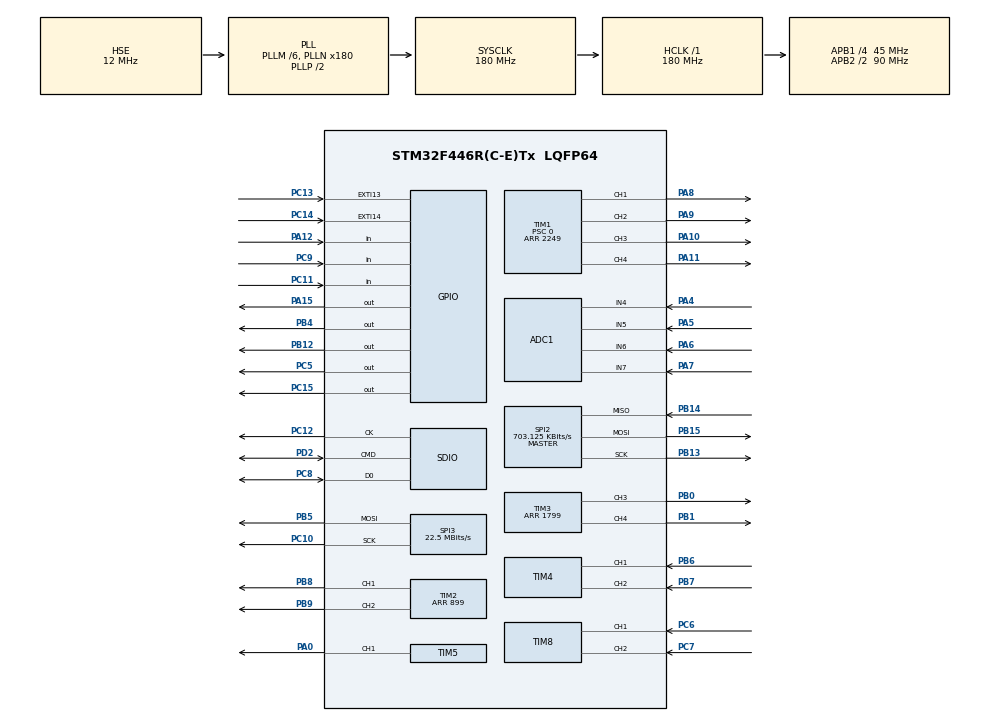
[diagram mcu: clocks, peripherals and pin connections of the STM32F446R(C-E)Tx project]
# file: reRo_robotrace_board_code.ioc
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ADC1.Channel-0\#ChannelRegularConversion=ADC_CHANNEL_6
ADC1.Channel-1\#ChannelRegularConversion=ADC_CHANNEL_7
ADC1.Channel-2\#ChannelRegularConversion=ADC_CHANNEL_5
ADC1.Channel-3\#ChannelRegularConversion=ADC_CHANNEL_4
ADC1.ContinuousConvMode=DISABLE
ADC1.DMAContinuousRequests=DISABLE
ADC1.ExternalTrigConv=ADC_SOFTWARE_START
ADC1.NbrOfConversion=4
ADC1.NbrOfConversionFlag=1
ADC1.Rank-0\#ChannelRegularConversion=1
ADC1.Rank-1\#ChannelRegularConversion=2
ADC1.Rank-2\#ChannelRegularConversion=3
ADC1.Rank-3\#ChannelRegularConversion=4
ADC1.SamplingTime-0\#ChannelRegularConversion=ADC_SAMPLETIME_15CYCLES
ADC1.SamplingTime-1\#ChannelRegularConversion=ADC_SAMPLETIME_15CYCLES
ADC1.SamplingTime-2\#ChannelRegularConversion=ADC_SAMPLETIME_15CYCLES
ADC1.SamplingTime-3\#ChannelRegularConversion=ADC_SAMPLETIME_15CYCLES
ADC1.ScanConvMode=ENABLE
ADC1.master=1
Dma.ADC1.2.Direction=DMA_PERIPH_TO_MEMORY
Dma.ADC1.2.FIFOMode=DMA_FIFOMODE_DISABLE
Dma.ADC1.2.Instance=DMA2_Stream0
Dma.ADC1.2.MemDataAlignment=DMA_MDATAALIGN_HALFWORD
Dma.ADC1.2.MemInc=DMA_MINC_ENABLE
Dma.ADC1.2.Mode=DMA_CIRCULAR
Dma.ADC1.2.PeriphDataAlignment=DMA_PDATAALIGN_HALFWORD
Dma.ADC1.2.PeriphInc=DMA_PINC_DISABLE
Dma.ADC1.2.Priority=DMA_PRIORITY_LOW
Dma.Request0=SDIO_RX
Dma.Request1=SDIO_TX
Dma.Request2=ADC1
Dma.SDIO_RX.0.Direction=DMA_PERIPH_TO_MEMORY
Dma.SDIO_RX.0.FIFOMode=DMA_FIFOMODE_ENABLE
Dma.SDIO_RX.0.FIFOThreshold=DMA_FIFO_THRESHOLD_FULL
Dma.SDIO_RX.0.Instance=DMA2_Stream3
Dma.SDIO_RX.0.MemBurst=DMA_MBURST_INC4
Dma.SDIO_RX.0.MemDataAlignment=DMA_MDATAALIGN_WORD
Dma.SDIO_RX.0.MemInc=DMA_MINC_ENABLE
Dma.SDIO_RX.0.Mode=DMA_PFCTRL
Dma.SDIO_RX.0.PeriphBurst=DMA_PBURST_INC4
Dma.SDIO_RX.0.PeriphDataAlignment=DMA_PDATAALIGN_WORD
Dma.SDIO_RX.0.PeriphInc=DMA_PINC_DISABLE
Dma.SDIO_RX.0.Priority=DMA_PRIORITY_MEDIUM
Dma.SDIO_TX.1.Direction=DMA_MEMORY_TO_PERIPH
Dma.SDIO_TX.1.FIFOMode=DMA_FIFOMODE_ENABLE
Dma.SDIO_TX.1.FIFOThreshold=DMA_FIFO_THRESHOLD_FULL
Dma.SDIO_TX.1.Instance=DMA2_Stream6
Dma.SDIO_TX.1.MemBurst=DMA_MBURST_INC4
Dma.SDIO_TX.1.MemDataAlignment=DMA_MDATAALIGN_WORD
Dma.SDIO_TX.1.MemInc=DMA_MINC_ENABLE
Dma.SDIO_TX.1.Mode=DMA_PFCTRL
Dma.SDIO_TX.1.PeriphBurst=DMA_PBURST_INC4
Dma.SDIO_TX.1.PeriphDataAlignment=DMA_PDATAALIGN_WORD
Dma.SDIO_TX.1.PeriphInc=DMA_PINC_DISABLE
Dma.SDIO_TX.1.Priority=DMA_PRIORITY_MEDIUM
FATFS.BSP.number=1
FATFS.USE_DMA_CODE_SD=1
FATFS._FS_RPATH=1
FATFS._MAX_SS=4096
FATFS._USE_CHMOD=1
FATFS._USE_LFN=1
FATFS0.BSP.STBoard=false
FATFS0.BSP.api=Unknown
FATFS0.BSP.instance=PC11
FATFS0.BSP.ip=GPIO
FATFS0.BSP.mode=Input
FATFS0.BSP.name=Detect_SDIO
FATFS0.BSP.solution=PC11
Mcu.Family=STM32F4
Mcu.Name=STM32F446R(C-E)Tx
Mcu.Package=LQFP64
NVIC.ADC_IRQn=true\:0\:0\:false\:false\:true\:true\:true\:true
NVIC.DMA2_Stream0_IRQn=true\:0\:0\:false\:false\:true\:false\:true\:true
NVIC.DMA2_Stream3_IRQn=true\:0\:0\:false\:false\:true\:false\:true\:true
NVIC.DMA2_Stream6_IRQn=true\:0\:0\:false\:false\:true\:false\:true\:true
NVIC.EXTI15_10_IRQn=true\:0\:0\:false\:false\:true\:true\:true\:true
NVIC.PriorityGroup=NVIC_PRIORITYGROUP_4
NVIC.SDIO_IRQn=true\:0\:0\:false\:false\:true\:true\:true\:true
NVIC.TIM1_UP_TIM10_IRQn=true\:0\:0\:false\:false\:true\:true\:true\:true
NVIC.TIM5_IRQn=true\:0\:0\:false\:false\:true\:true\:true\:true
NVIC.TIM6_DAC_IRQn=true\:0\:0\:true\:false\:true\:true\:true\:true
NVIC.TIM7_IRQn=true\:0\:0\:false\:false\:true\:true\:true\:true
PA0-WKUP.Signal=S_TIM5_CH1
PA10.Signal=S_TIM1_CH3
PA11.Signal=S_TIM1_CH4
PA12.GPIO_PuPd=GPIO_PULLUP
PA12.Signal=GPIO_Input
PA13.Mode=Trace_Asynchronous_SW
PA13.Signal=SYS_JTMS-SWDIO
PA14.Mode=Trace_Asynchronous_SW
PA14.Signal=SYS_JTCK-SWCLK
PA15.Signal=GPIO_Output
PA4.Signal=ADCx_IN4
PA5.Signal=ADCx_IN5
PA6.Signal=ADCx_IN6
PA7.Signal=ADCx_IN7
PA8.Signal=S_TIM1_CH1
PA9.Signal=S_TIM1_CH2
PB0.Signal=S_TIM3_CH3
PB1.Signal=S_TIM3_CH4
PB12.GPIO_Speed=GPIO_SPEED_FREQ_HIGH
PB12.Signal=GPIO_Output
PB13.Mode=Full_Duplex_Master
PB13.Signal=SPI2_SCK
PB14.Mode=Full_Duplex_Master
PB14.Signal=SPI2_MISO
PB15.Mode=Full_Duplex_Master
PB15.Signal=SPI2_MOSI
PB3.Mode=Trace_Asynchronous_SW
PB3.Signal=SYS_JTDO-SWO
PB4.Signal=GPIO_Output
PB5.Mode=TX_Only_Simplex_Unidirect_Master
PB5.Signal=SPI3_MOSI
PB6.Signal=S_TIM4_CH1
PB7.Signal=S_TIM4_CH2
PB8.GPIO_PuPd=GPIO_NOPULL
PB8.Signal=S_TIM2_CH1_ETR
PB9.GPIO_PuPd=GPIO_NOPULL
PB9.Signal=S_TIM2_CH2
PC10.Mode=TX_Only_Simplex_Unidirect_Master
PC10.Signal=SPI3_SCK
PC11.Signal=GPIO_Input
PC12.Mode=SD_1_bit
PC12.Signal=SDIO_CK
PC13.GPIO_ModeDefaultEXTI=GPIO_MODE_IT_RISING_FALLING
PC13.Signal=GPXTI13
PC14-OSC32_IN.GPIO_ModeDefaultEXTI=GPIO_MODE_IT_RISING_FALLING
PC14-OSC32_IN.Signal=GPXTI14
PC15-OSC32_OUT.Signal=GPIO_Output
PC5.GPIO_PuPd=GPIO_NOPULL
PC5.Signal=GPIO_Output
PC6.GPIO_PuPd=GPIO_NOPULL
PC6.Signal=S_TIM8_CH1
PC7.GPIO_PuPd=GPIO_NOPULL
PC7.Signal=S_TIM8_CH2
PC8.Mode=SD_1_bit
PC8.Signal=SDIO_D0
PC9.GPIO_PuPd=GPIO_PULLUP
PC9.Signal=GPIO_Input
PD2.Mode=SD_1_bit
PD2.Signal=SDIO_CMD
PH0-OSC_IN.Mode=HSE-External-Oscillator
PH0-OSC_IN.Signal=RCC_OSC_IN
PH1-OSC_OUT.Mode=HSE-External-Oscillator
PH1-OSC_OUT.Signal=RCC_OSC_OUT
ProjectManager.HeapSize=0x200
ProjectManager.StackSize=0x400
ProjectManager.TargetToolchain=STM32CubeIDE
RCC.AHBFreq_Value=180000000
RCC.APB1CLKDivider=RCC_HCLK_DIV4
RCC.APB1Freq_Value=45000000
RCC.APB1TimFreq_Value=90000000
RCC.APB2CLKDivider=RCC_HCLK_DIV2
RCC.APB2Freq_Value=90000000
RCC.APB2TimFreq_Value=180000000
RCC.CortexFreq_Value=180000000
RCC.HCLKFreq_Value=180000000
RCC.HSE_VALUE=12000000
RCC.PLLM=6
RCC.PLLN=180
RCC.PLLQ=8
RCC.PLLSourceVirtual=RCC_PLLSOURCE_HSE
RCC.SYSCLKFreq_VALUE=180000000
RCC.SYSCLKSource=RCC_SYSCLKSOURCE_PLLCLK
RCC.USBFreq_Value=45000000
RCC.VCOOutputFreq_Value=360000000
SH.ADCx_IN4.0=ADC1_IN4,IN4
SH.ADCx_IN5.0=ADC1_IN5,IN5
SH.ADCx_IN6.0=ADC1_IN6,IN6
SH.ADCx_IN7.0=ADC1_IN7,IN7
SH.S_TIM1_CH1.0=TIM1_CH1,PWM Generation1 CH1
SH.S_TIM1_CH2.0=TIM1_CH2,PWM Generation2 CH2
SH.S_TIM1_CH3.0=TIM1_CH3,PWM Generation3 CH3
SH.S_TIM1_CH4.0=TIM1_CH4,PWM Generation4 CH4
SH.S_TIM2_CH1_ETR.0=TIM2_CH1,PWM Generation1 CH1
SH.S_TIM2_CH2.0=TIM2_CH2,PWM Generation2 CH2
SH.S_TIM3_CH3.0=TIM3_CH3,PWM Generation3 CH3
SH.S_TIM3_CH4.0=TIM3_CH4,PWM Generation4 CH4
SH.S_TIM4_CH1.0=TIM4_CH1,Encoder_Interface
SH.S_TIM4_CH2.0=TIM4_CH2,Encoder_Interface
SH.S_TIM5_CH1.0=TIM5_CH1,PWM Generation1 CH1
SH.S_TIM8_CH1.0=TIM8_CH1,Encoder_Interface
SH.S_TIM8_CH2.0=TIM8_CH2,Encoder_Interface
SPI2.BaudRatePrescaler=SPI_BAUDRATEPRESCALER_64
SPI2.CLKPhase=SPI_PHASE_1EDGE
SPI2.CLKPolarity=SPI_POLARITY_LOW
SPI2.CalculateBaudRate=703.125 KBits/s
SPI2.Direction=SPI_DIRECTION_2LINES
SPI2.Mode=SPI_MODE_MASTER
SPI2.VirtualType=VM_MASTER
SPI3.CalculateBaudRate=22.5 MBits/s
SPI3.Direction=SPI_DIRECTION_2LINES
SPI3.Mode=SPI_MODE_MASTER
SPI3.VirtualType=VM_MASTER
TIM1.Channel-PWM\ Generation1\ CH1=TIM_CHANNEL_1
TIM1.Channel-PWM\ Generation2\ CH2=TIM_CHANNEL_2
TIM1.Channel-PWM\ Generation3\ CH3=TIM_CHANNEL_3
TIM1.Channel-PWM\ Generation4\ CH4=TIM_CHANNEL_4
TIM1.ClockDivision=TIM_CLOCKDIVISION_DIV1
TIM1.Period=2249
TIM1.Prescaler=0
TIM10.Period=9999
TIM10.Prescaler=179
TIM2.Channel-PWM\ Generation1\ CH1=TIM_CHANNEL_1
TIM2.Channel-PWM\ Generation2\ CH2=TIM_CHANNEL_2
TIM2.Period=899
TIM3.Channel-PWM\ Generation3\ CH3=TIM_CHANNEL_3
TIM3.Channel-PWM\ Generation4\ CH4=TIM_CHANNEL_4
TIM3.Period=1799
TIM4.EncoderMode=TIM_ENCODERMODE_TI12
TIM5.Channel-PWM\ Generation1\ CH1=TIM_CHANNEL_1
TIM5.Period=8999
TIM5.TIM_MasterOutputTrigger=TIM_TRGO_RESET
TIM6.Period=999
TIM6.Prescaler=89
TIM7.Period=99
TIM7.Prescaler=89
TIM8.EncoderMode=TIM_ENCODERMODE_TI12
VP_FATFS_VS_SDIO.Mode=SDIO
VP_TIM10_VS_ClockSourceINT.Mode=Enable_Timer
VP_TIM6_VS_ClockSourceINT.Mode=Enable_Timer
VP_TIM7_VS_ClockSourceINT.Mode=Enable_Timer
board=custom

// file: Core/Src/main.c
/* USER CODE BEGIN Header */
/**
 ******************************************************************************
 * @file           : main.c
 * @brief          : Main program body
 ******************************************************************************
 * @attention
 *
 * Copyright (c) 2023 STMicroelectronics.
 * All rights reserved.
 *
 * This software is licensed under terms that can be found in the LICENSE file
 * in the root directory of this software component.
 * If no LICENSE file comes with this software, it is provided AS-IS.
 *
 ******************************************************************************
 */
/* USER CODE END Header */
#include "main.h"
#include "fatfs.h"

/* USER CODE BEGIN Includes */
//#include "AQM0802.h"
#include "stdio.h"
//#include "MPU6500.h"
#include "cppMain.hpp"

/* USER CODE END Includes */

ADC_HandleTypeDef hadc1;
DMA_HandleTypeDef hdma_adc1;

SD_HandleTypeDef hsd;
DMA_HandleTypeDef hdma_sdio_rx;
DMA_HandleTypeDef hdma_sdio_tx;

SPI_HandleTypeDef hspi2;
SPI_HandleTypeDef hspi3;

TIM_HandleTypeDef htim1;
TIM_HandleTypeDef htim2;
TIM_HandleTypeDef htim3;
TIM_HandleTypeDef htim4;
TIM_HandleTypeDef htim5;
TIM_HandleTypeDef htim6;
TIM_HandleTypeDef htim7;
TIM_HandleTypeDef htim8;
TIM_HandleTypeDef htim10;

/* USER CODE BEGIN PV */
uint16_t tim6_timer;
uint16_t tim7_timer;
uint16_t tim10_timer;

/* USER CODE END PV */

void SystemClock_Config(void);
static void MX_GPIO_Init(void);
static void MX_DMA_Init(void);
static void MX_ADC1_Init(void);
static void MX_SDIO_SD_Init(void);
static void MX_SPI2_Init(void);
static void MX_TIM1_Init(void);
static void MX_TIM8_Init(void);
static void MX_TIM6_Init(void);
static void MX_TIM2_Init(void);
static void MX_TIM7_Init(void);
static void MX_SPI3_Init(void);
static void MX_TIM4_Init(void);
static void MX_TIM10_Init(void);
static void MX_TIM3_Init(void);
static void MX_TIM5_Init(void);
/* USER CODE BEGIN PFP */

uint16_t analog_val_[4];

/* USER CODE END PFP */

/* USER CODE BEGIN 0 */
int _write(int file, char *ptr, int len)
{
	int DataIdx;
	for(DataIdx=0; DataIdx<len; DataIdx++)
	{
		ITM_SendChar(*ptr++);
	}
	return len;
}

void HAL_GPIO_EXTI_Callback(uint16_t GPIO_Pin)
{
	cppExit(GPIO_Pin);
}

void HAL_TIM_PeriodElapsedCallback(TIM_HandleTypeDef *htim)
{
	if(htim->Instance == TIM7){		//0.1ms
		cppFlip100ns();

		tim7_timer++;
		if(tim7_timer >= 100000) tim7_timer = 0;
	}

	if (htim->Instance == TIM6){	//1msec
		cppFlip1ms();

		tim6_timer++;
		if(tim6_timer >= 100000) tim6_timer = 0;
	}

	if (htim->Instance == TIM10){	//10msec
		cppFlip10ms();

		tim10_timer++;
		if(tim10_timer >= 100000) tim10_timer = 0;
	}

	if (htim->Instance == TIM5) {
		//HAL_ADC_Start(&hadc1); // ADC変換を開??????��?��??��?��???��?��??��?��????��?��??��?��???��?��??��?��?????��?��??��?��???��?��??��?��????��?��??��?��???��?��??��?��? } }
		//HAL_ADC_Start_DMA(&hadc1, (uint32_t *) analog_val_, 12);
	}

}

void HAL_TIM_PWM_PulseFinishedCallback(TIM_HandleTypeDef *htim)
{
	if (htim->Instance == TIM5) {
		//HAL_ADC_Start(&hadc1); // ADC変換を開??????��?��??��?��???��?��??��?��????��?��??��?��???��?��??��?��?????��?��??��?��???��?��??��?��????��?��??��?��???��?��??��?��? } }
		//HAL_ADC_Start_DMA(&hadc1, (uint32_t *) analog_val_, 4);
		cppTimPwmPulseFinished();
	}

}
void HAL_TIM_OC_DelayElapsedCallback(TIM_HandleTypeDef *htim) {
	if (htim->Instance == TIM5) {
		// 比�?マッチ時の割り込みを�????��?��??��?��???��?��??��?��?
		//HAL_ADC_Start_DMA(&hadc1, (uint32_t *) analog_val_, 12);
	}
}

/* USER CODE END 0 */

int main(void)
{

  /* MCU Configuration--------------------------------------------------------*/

  /* Reset of all peripherals, Initializes the Flash interface and the Systick. */
  HAL_Init();

  /* Configure the system clock */
  SystemClock_Config();

  /* Initialize all configured peripherals */
  MX_GPIO_Init();
  MX_DMA_Init();
  MX_ADC1_Init();
  MX_SDIO_SD_Init();
  MX_SPI2_Init();
  MX_TIM1_Init();
  MX_TIM8_Init();
  MX_TIM6_Init();
  MX_FATFS_Init();
  MX_TIM2_Init();
  MX_TIM7_Init();
  MX_SPI3_Init();
  MX_TIM4_Init();
  MX_TIM10_Init();
  MX_TIM3_Init();
  MX_TIM5_Init();
  /* USER CODE BEGIN 2 */
	cppInit();

	/*
	HAL_TIM_PWM_Start_IT(&htim5, TIM_CHANNEL_1);
	HAL_TIM_PWM_Start(&htim5, TIM_CHANNEL_1);
	__HAL_TIM_SET_COMPARE(&htim5, TIM_CHANNEL_1, 8999);
	*/

	//printf("HelloWorld!!\r\n");

  /* USER CODE END 2 */

  /* Infinite loop */
  /* USER CODE BEGIN WHILE */
	while (1)
	{
		cppLoop();

    /* USER CODE END WHILE */

	}
}

void SystemClock_Config(void)
{
  RCC_OscInitTypeDef RCC_OscInitStruct = {0};
  RCC_ClkInitTypeDef RCC_ClkInitStruct = {0};

  /** Configure the main internal regulator output voltage
  */
  __HAL_RCC_PWR_CLK_ENABLE();
  __HAL_PWR_VOLTAGESCALING_CONFIG(PWR_REGULATOR_VOLTAGE_SCALE1);

  /** Initializes the RCC Oscillators according to the specified parameters
  * in the RCC_OscInitTypeDef structure.
  */
  RCC_OscInitStruct.OscillatorType = RCC_OSCILLATORTYPE_HSE;
  RCC_OscInitStruct.HSEState = RCC_HSE_ON;
  RCC_OscInitStruct.PLL.PLLState = RCC_PLL_ON;
  RCC_OscInitStruct.PLL.PLLSource = RCC_PLLSOURCE_HSE;
  RCC_OscInitStruct.PLL.PLLM = 6;
  RCC_OscInitStruct.PLL.PLLN = 180;
  RCC_OscInitStruct.PLL.PLLP = RCC_PLLP_DIV2;
  RCC_OscInitStruct.PLL.PLLQ = 8;
  RCC_OscInitStruct.PLL.PLLR = 2;
  if (HAL_RCC_OscConfig(&RCC_OscInitStruct) != HAL_OK)
  {
    Error_Handler();
  }

  /** Activate the Over-Drive mode
  */
  if (HAL_PWREx_EnableOverDrive() != HAL_OK)
  {
    Error_Handler();
  }

  /** Initializes the CPU, AHB and APB buses clocks
  */
  RCC_ClkInitStruct.ClockType = RCC_CLOCKTYPE_HCLK|RCC_CLOCKTYPE_SYSCLK
                              |RCC_CLOCKTYPE_PCLK1|RCC_CLOCKTYPE_PCLK2;
  RCC_ClkInitStruct.SYSCLKSource = RCC_SYSCLKSOURCE_PLLCLK;
  RCC_ClkInitStruct.AHBCLKDivider = RCC_SYSCLK_DIV1;
  RCC_ClkInitStruct.APB1CLKDivider = RCC_HCLK_DIV4;
  RCC_ClkInitStruct.APB2CLKDivider = RCC_HCLK_DIV2;

  if (HAL_RCC_ClockConfig(&RCC_ClkInitStruct, FLASH_LATENCY_5) != HAL_OK)
  {
    Error_Handler();
  }
}

static void MX_ADC1_Init(void)
{

  ADC_ChannelConfTypeDef sConfig = {0};

  /** Configure the global features of the ADC (Clock, Resolution, Data Alignment and number of conversion)
  */
  hadc1.Instance = ADC1;
  hadc1.Init.ClockPrescaler = ADC_CLOCK_SYNC_PCLK_DIV4;
  hadc1.Init.Resolution = ADC_RESOLUTION_12B;
  hadc1.Init.ScanConvMode = ENABLE;
  hadc1.Init.ContinuousConvMode = DISABLE;
  hadc1.Init.DiscontinuousConvMode = DISABLE;
  hadc1.Init.ExternalTrigConvEdge = ADC_EXTERNALTRIGCONVEDGE_NONE;
  hadc1.Init.ExternalTrigConv = ADC_SOFTWARE_START;
  hadc1.Init.DataAlign = ADC_DATAALIGN_RIGHT;
  hadc1.Init.NbrOfConversion = 4;
  hadc1.Init.DMAContinuousRequests = DISABLE;
  hadc1.Init.EOCSelection = ADC_EOC_SINGLE_CONV;
  if (HAL_ADC_Init(&hadc1) != HAL_OK)
  {
    Error_Handler();
  }

  /** Configure for the selected ADC regular channel its corresponding rank in the sequencer and its sample time.
  */
  sConfig.Channel = ADC_CHANNEL_6;
  sConfig.Rank = 1;
  sConfig.SamplingTime = ADC_SAMPLETIME_15CYCLES;
  if (HAL_ADC_ConfigChannel(&hadc1, &sConfig) != HAL_OK)
  {
    Error_Handler();
  }

  /** Configure for the selected ADC regular channel its corresponding rank in the sequencer and its sample time.
  */
  sConfig.Channel = ADC_CHANNEL_7;
  sConfig.Rank = 2;
  if (HAL_ADC_ConfigChannel(&hadc1, &sConfig) != HAL_OK)
  {
    Error_Handler();
  }

  /** Configure for the selected ADC regular channel its corresponding rank in the sequencer and its sample time.
  */
  sConfig.Channel = ADC_CHANNEL_5;
  sConfig.Rank = 3;
  if (HAL_ADC_ConfigChannel(&hadc1, &sConfig) != HAL_OK)
  {
    Error_Handler();
  }

  /** Configure for the selected ADC regular channel its corresponding rank in the sequencer and its sample time.
  */
  sConfig.Channel = ADC_CHANNEL_4;
  sConfig.Rank = 4;
  if (HAL_ADC_ConfigChannel(&hadc1, &sConfig) != HAL_OK)
  {
    Error_Handler();
  }

}

static void MX_SDIO_SD_Init(void)
{

  hsd.Instance = SDIO;
  hsd.Init.ClockEdge = SDIO_CLOCK_EDGE_RISING;
  hsd.Init.ClockBypass = SDIO_CLOCK_BYPASS_DISABLE;
  hsd.Init.ClockPowerSave = SDIO_CLOCK_POWER_SAVE_DISABLE;
  hsd.Init.BusWide = SDIO_BUS_WIDE_1B;
  hsd.Init.HardwareFlowControl = SDIO_HARDWARE_FLOW_CONTROL_DISABLE;
  hsd.Init.ClockDiv = 0;

}

static void MX_SPI2_Init(void)
{

  /* SPI2 parameter configuration*/
  hspi2.Instance = SPI2;
  hspi2.Init.Mode = SPI_MODE_MASTER;
  hspi2.Init.Direction = SPI_DIRECTION_2LINES;
  hspi2.Init.DataSize = SPI_DATASIZE_8BIT;
  hspi2.Init.CLKPolarity = SPI_POLARITY_LOW;
  hspi2.Init.CLKPhase = SPI_PHASE_1EDGE;
  hspi2.Init.NSS = SPI_NSS_SOFT;
  hspi2.Init.BaudRatePrescaler = SPI_BAUDRATEPRESCALER_64;
  hspi2.Init.FirstBit = SPI_FIRSTBIT_MSB;
  hspi2.Init.TIMode = SPI_TIMODE_DISABLE;
  hspi2.Init.CRCCalculation = SPI_CRCCALCULATION_DISABLE;
  hspi2.Init.CRCPolynomial = 10;
  if (HAL_SPI_Init(&hspi2) != HAL_OK)
  {
    Error_Handler();
  }

}

static void MX_SPI3_Init(void)
{

  /* SPI3 parameter configuration*/
  hspi3.Instance = SPI3;
  hspi3.Init.Mode = SPI_MODE_MASTER;
  hspi3.Init.Direction = SPI_DIRECTION_2LINES;
  hspi3.Init.DataSize = SPI_DATASIZE_8BIT;
  hspi3.Init.CLKPolarity = SPI_POLARITY_LOW;
  hspi3.Init.CLKPhase = SPI_PHASE_1EDGE;
  hspi3.Init.NSS = SPI_NSS_SOFT;
  hspi3.Init.BaudRatePrescaler = SPI_BAUDRATEPRESCALER_2;
  hspi3.Init.FirstBit = SPI_FIRSTBIT_MSB;
  hspi3.Init.TIMode = SPI_TIMODE_DISABLE;
  hspi3.Init.CRCCalculation = SPI_CRCCALCULATION_DISABLE;
  hspi3.Init.CRCPolynomial = 10;
  if (HAL_SPI_Init(&hspi3) != HAL_OK)
  {
    Error_Handler();
  }

}

static void MX_TIM1_Init(void)
{

  TIM_MasterConfigTypeDef sMasterConfig = {0};
  TIM_OC_InitTypeDef sConfigOC = {0};
  TIM_BreakDeadTimeConfigTypeDef sBreakDeadTimeConfig = {0};

  htim1.Instance = TIM1;
  htim1.Init.Prescaler = 0;
  htim1.Init.CounterMode = TIM_COUNTERMODE_UP;
  htim1.Init.Period = 2249;
  htim1.Init.ClockDivision = TIM_CLOCKDIVISION_DIV1;
  htim1.Init.RepetitionCounter = 0;
  htim1.Init.AutoReloadPreload = TIM_AUTORELOAD_PRELOAD_DISABLE;
  if (HAL_TIM_PWM_Init(&htim1) != HAL_OK)
  {
    Error_Handler();
  }
  sMasterConfig.MasterOutputTrigger = TIM_TRGO_RESET;
  sMasterConfig.MasterSlaveMode = TIM_MASTERSLAVEMODE_DISABLE;
  if (HAL_TIMEx_MasterConfigSynchronization(&htim1, &sMasterConfig) != HAL_OK)
  {
    Error_Handler();
  }
  sConfigOC.OCMode = TIM_OCMODE_PWM1;
  sConfigOC.Pulse = 0;
  sConfigOC.OCPolarity = TIM_OCPOLARITY_HIGH;
  sConfigOC.OCNPolarity = TIM_OCNPOLARITY_HIGH;
  sConfigOC.OCFastMode = TIM_OCFAST_DISABLE;
  sConfigOC.OCIdleState = TIM_OCIDLESTATE_RESET;
  sConfigOC.OCNIdleState = TIM_OCNIDLESTATE_RESET;
  if (HAL_TIM_PWM_ConfigChannel(&htim1, &sConfigOC, TIM_CHANNEL_1) != HAL_OK)
  {
    Error_Handler();
  }
  if (HAL_TIM_PWM_ConfigChannel(&htim1, &sConfigOC, TIM_CHANNEL_2) != HAL_OK)
  {
    Error_Handler();
  }
  if (HAL_TIM_PWM_ConfigChannel(&htim1, &sConfigOC, TIM_CHANNEL_3) != HAL_OK)
  {
    Error_Handler();
  }
  if (HAL_TIM_PWM_ConfigChannel(&htim1, &sConfigOC, TIM_CHANNEL_4) != HAL_OK)
  {
    Error_Handler();
  }
  sBreakDeadTimeConfig.OffStateRunMode = TIM_OSSR_DISABLE;
  sBreakDeadTimeConfig.OffStateIDLEMode = TIM_OSSI_DISABLE;
  sBreakDeadTimeConfig.LockLevel = TIM_LOCKLEVEL_OFF;
  sBreakDeadTimeConfig.DeadTime = 0;
  sBreakDeadTimeConfig.BreakState = TIM_BREAK_DISABLE;
  sBreakDeadTimeConfig.BreakPolarity = TIM_BREAKPOLARITY_HIGH;
  sBreakDeadTimeConfig.AutomaticOutput = TIM_AUTOMATICOUTPUT_DISABLE;
  if (HAL_TIMEx_ConfigBreakDeadTime(&htim1, &sBreakDeadTimeConfig) != HAL_OK)
  {
    Error_Handler();
  }
  HAL_TIM_MspPostInit(&htim1);

}

static void MX_TIM2_Init(void)
{

  TIM_MasterConfigTypeDef sMasterConfig = {0};
  TIM_OC_InitTypeDef sConfigOC = {0};

  htim2.Instance = TIM2;
  htim2.Init.Prescaler = 0;
  htim2.Init.CounterMode = TIM_COUNTERMODE_UP;
  htim2.Init.Period = 899;
  htim2.Init.ClockDivision = TIM_CLOCKDIVISION_DIV1;
  htim2.Init.AutoReloadPreload = TIM_AUTORELOAD_PRELOAD_DISABLE;
  if (HAL_TIM_PWM_Init(&htim2) != HAL_OK)
  {
    Error_Handler();
  }
  sMasterConfig.MasterOutputTrigger = TIM_TRGO_RESET;
  sMasterConfig.MasterSlaveMode = TIM_MASTERSLAVEMODE_DISABLE;
  if (HAL_TIMEx_MasterConfigSynchronization(&htim2, &sMasterConfig) != HAL_OK)
  {
    Error_Handler();
  }
  sConfigOC.OCMode = TIM_OCMODE_PWM1;
  sConfigOC.Pulse = 0;
  sConfigOC.OCPolarity = TIM_OCPOLARITY_HIGH;
  sConfigOC.OCFastMode = TIM_OCFAST_DISABLE;
  if (HAL_TIM_PWM_ConfigChannel(&htim2, &sConfigOC, TIM_CHANNEL_1) != HAL_OK)
  {
    Error_Handler();
  }
  if (HAL_TIM_PWM_ConfigChannel(&htim2, &sConfigOC, TIM_CHANNEL_2) != HAL_OK)
  {
    Error_Handler();
  }
  HAL_TIM_MspPostInit(&htim2);

}

static void MX_TIM3_Init(void)
{

  TIM_MasterConfigTypeDef sMasterConfig = {0};
  TIM_OC_InitTypeDef sConfigOC = {0};

  htim3.Instance = TIM3;
  htim3.Init.Prescaler = 0;
  htim3.Init.CounterMode = TIM_COUNTERMODE_UP;
  htim3.Init.Period = 1799;
  htim3.Init.ClockDivision = TIM_CLOCKDIVISION_DIV1;
  htim3.Init.AutoReloadPreload = TIM_AUTORELOAD_PRELOAD_DISABLE;
  if (HAL_TIM_PWM_Init(&htim3) != HAL_OK)
  {
    Error_Handler();
  }
  sMasterConfig.MasterOutputTrigger = TIM_TRGO_RESET;
  sMasterConfig.MasterSlaveMode = TIM_MASTERSLAVEMODE_DISABLE;
  if (HAL_TIMEx_MasterConfigSynchronization(&htim3, &sMasterConfig) != HAL_OK)
  {
    Error_Handler();
  }
  sConfigOC.OCMode = TIM_OCMODE_PWM1;
  sConfigOC.Pulse = 0;
  sConfigOC.OCPolarity = TIM_OCPOLARITY_HIGH;
  sConfigOC.OCFastMode = TIM_OCFAST_DISABLE;
  if (HAL_TIM_PWM_ConfigChannel(&htim3, &sConfigOC, TIM_CHANNEL_3) != HAL_OK)
  {
    Error_Handler();
  }
  if (HAL_TIM_PWM_ConfigChannel(&htim3, &sConfigOC, TIM_CHANNEL_4) != HAL_OK)
  {
    Error_Handler();
  }
  HAL_TIM_MspPostInit(&htim3);

}

static void MX_TIM4_Init(void)
{

  TIM_Encoder_InitTypeDef sConfig = {0};
  TIM_MasterConfigTypeDef sMasterConfig = {0};

  htim4.Instance = TIM4;
  htim4.Init.Prescaler = 0;
  htim4.Init.CounterMode = TIM_COUNTERMODE_UP;
  htim4.Init.Period = 65535;
  htim4.Init.ClockDivision = TIM_CLOCKDIVISION_DIV1;
  htim4.Init.AutoReloadPreload = TIM_AUTORELOAD_PRELOAD_DISABLE;
  sConfig.EncoderMode = TIM_ENCODERMODE_TI12;
  sConfig.IC1Polarity = TIM_ICPOLARITY_RISING;
  sConfig.IC1Selection = TIM_ICSELECTION_DIRECTTI;
  sConfig.IC1Prescaler = TIM_ICPSC_DIV1;
  sConfig.IC1Filter = 0;
  sConfig.IC2Polarity = TIM_ICPOLARITY_RISING;
  sConfig.IC2Selection = TIM_ICSELECTION_DIRECTTI;
  sConfig.IC2Prescaler = TIM_ICPSC_DIV1;
  sConfig.IC2Filter = 0;
  if (HAL_TIM_Encoder_Init(&htim4, &sConfig) != HAL_OK)
  {
    Error_Handler();
  }
  sMasterConfig.MasterOutputTrigger = TIM_TRGO_RESET;
  sMasterConfig.MasterSlaveMode = TIM_MASTERSLAVEMODE_DISABLE;
  if (HAL_TIMEx_MasterConfigSynchronization(&htim4, &sMasterConfig) != HAL_OK)
  {
    Error_Handler();
  }

}

static void MX_TIM5_Init(void)
{

  TIM_MasterConfigTypeDef sMasterConfig = {0};
  TIM_OC_InitTypeDef sConfigOC = {0};

  htim5.Instance = TIM5;
  htim5.Init.Prescaler = 0;
  htim5.Init.CounterMode = TIM_COUNTERMODE_UP;
  htim5.Init.Period = 8999;
  htim5.Init.ClockDivision = TIM_CLOCKDIVISION_DIV1;
  htim5.Init.AutoReloadPreload = TIM_AUTORELOAD_PRELOAD_DISABLE;
  if (HAL_TIM_PWM_Init(&htim5) != HAL_OK)
  {
    Error_Handler();
  }
  sMasterConfig.MasterOutputTrigger = TIM_TRGO_RESET;
  sMasterConfig.MasterSlaveMode = TIM_MASTERSLAVEMODE_DISABLE;
  if (HAL_TIMEx_MasterConfigSynchronization(&htim5, &sMasterConfig) != HAL_OK)
  {
    Error_Handler();
  }
  sConfigOC.OCMode = TIM_OCMODE_PWM1;
  sConfigOC.Pulse = 0;
  sConfigOC.OCPolarity = TIM_OCPOLARITY_HIGH;
  sConfigOC.OCFastMode = TIM_OCFAST_DISABLE;
  if (HAL_TIM_PWM_ConfigChannel(&htim5, &sConfigOC, TIM_CHANNEL_1) != HAL_OK)
  {
    Error_Handler();
  }
  HAL_TIM_MspPostInit(&htim5);

}

static void MX_TIM6_Init(void)
{

  TIM_MasterConfigTypeDef sMasterConfig = {0};

  htim6.Instance = TIM6;
  htim6.Init.Prescaler = 89;
  htim6.Init.CounterMode = TIM_COUNTERMODE_UP;
  htim6.Init.Period = 999;
  htim6.Init.AutoReloadPreload = TIM_AUTORELOAD_PRELOAD_DISABLE;
  if (HAL_TIM_Base_Init(&htim6) != HAL_OK)
  {
    Error_Handler();
  }
  sMasterConfig.MasterOutputTrigger = TIM_TRGO_RESET;
  sMasterConfig.MasterSlaveMode = TIM_MASTERSLAVEMODE_DISABLE;
  if (HAL_TIMEx_MasterConfigSynchronization(&htim6, &sMasterConfig) != HAL_OK)
  {
    Error_Handler();
  }

}

static void MX_TIM7_Init(void)
{

  TIM_MasterConfigTypeDef sMasterConfig = {0};

  htim7.Instance = TIM7;
  htim7.Init.Prescaler = 89;
  htim7.Init.CounterMode = TIM_COUNTERMODE_UP;
  htim7.Init.Period = 99;
  htim7.Init.AutoReloadPreload = TIM_AUTORELOAD_PRELOAD_DISABLE;
  if (HAL_TIM_Base_Init(&htim7) != HAL_OK)
  {
    Error_Handler();
  }
  sMasterConfig.MasterOutputTrigger = TIM_TRGO_RESET;
  sMasterConfig.MasterSlaveMode = TIM_MASTERSLAVEMODE_DISABLE;
  if (HAL_TIMEx_MasterConfigSynchronization(&htim7, &sMasterConfig) != HAL_OK)
  {
    Error_Handler();
  }

}

static void MX_TIM8_Init(void)
{

  TIM_Encoder_InitTypeDef sConfig = {0};
  TIM_MasterConfigTypeDef sMasterConfig = {0};

  htim8.Instance = TIM8;
  htim8.Init.Prescaler = 0;
  htim8.Init.CounterMode = TIM_COUNTERMODE_UP;
  htim8.Init.Period = 65535;
  htim8.Init.ClockDivision = TIM_CLOCKDIVISION_DIV1;
  htim8.Init.RepetitionCounter = 0;
  htim8.Init.AutoReloadPreload = TIM_AUTORELOAD_PRELOAD_DISABLE;
  sConfig.EncoderMode = TIM_ENCODERMODE_TI12;
  sConfig.IC1Polarity = TIM_ICPOLARITY_RISING;
  sConfig.IC1Selection = TIM_ICSELECTION_DIRECTTI;
  sConfig.IC1Prescaler = TIM_ICPSC_DIV1;
  sConfig.IC1Filter = 0;
  sConfig.IC2Polarity = TIM_ICPOLARITY_RISING;
  sConfig.IC2Selection = TIM_ICSELECTION_DIRECTTI;
  sConfig.IC2Prescaler = TIM_ICPSC_DIV1;
  sConfig.IC2Filter = 0;
  if (HAL_TIM_Encoder_Init(&htim8, &sConfig) != HAL_OK)
  {
    Error_Handler();
  }
  sMasterConfig.MasterOutputTrigger = TIM_TRGO_RESET;
  sMasterConfig.MasterSlaveMode = TIM_MASTERSLAVEMODE_DISABLE;
  if (HAL_TIMEx_MasterConfigSynchronization(&htim8, &sMasterConfig) != HAL_OK)
  {
    Error_Handler();
  }

}

static void MX_TIM10_Init(void)
{

  htim10.Instance = TIM10;
  htim10.Init.Prescaler = 179;
  htim10.Init.CounterMode = TIM_COUNTERMODE_UP;
  htim10.Init.Period = 9999;
  htim10.Init.ClockDivision = TIM_CLOCKDIVISION_DIV1;
  htim10.Init.AutoReloadPreload = TIM_AUTORELOAD_PRELOAD_DISABLE;
  if (HAL_TIM_Base_Init(&htim10) != HAL_OK)
  {
    Error_Handler();
  }

}

static void MX_DMA_Init(void)
{

  /* DMA controller clock enable */
  __HAL_RCC_DMA2_CLK_ENABLE();

  /* DMA interrupt init */
  /* DMA2_Stream0_IRQn interrupt configuration */
  HAL_NVIC_SetPriority(DMA2_Stream0_IRQn, 0, 0);
  HAL_NVIC_EnableIRQ(DMA2_Stream0_IRQn);
  /* DMA2_Stream3_IRQn interrupt configuration */
  HAL_NVIC_SetPriority(DMA2_Stream3_IRQn, 0, 0);
  HAL_NVIC_EnableIRQ(DMA2_Stream3_IRQn);
  /* DMA2_Stream6_IRQn interrupt configuration */
  HAL_NVIC_SetPriority(DMA2_Stream6_IRQn, 0, 0);
  HAL_NVIC_EnableIRQ(DMA2_Stream6_IRQn);

}

static void MX_GPIO_Init(void)
{
  GPIO_InitTypeDef GPIO_InitStruct = {0};

  /* GPIO Ports Clock Enable */
  __HAL_RCC_GPIOC_CLK_ENABLE();
  __HAL_RCC_GPIOH_CLK_ENABLE();
  __HAL_RCC_GPIOA_CLK_ENABLE();
  __HAL_RCC_GPIOB_CLK_ENABLE();
  __HAL_RCC_GPIOD_CLK_ENABLE();

  /*Configure GPIO pin Output Level */
  HAL_GPIO_WritePin(GPIOC, GPIO_PIN_15|GPIO_PIN_5, GPIO_PIN_RESET);

  /*Configure GPIO pin Output Level */
  HAL_GPIO_WritePin(GPIOB, GPIO_PIN_12|GPIO_PIN_4, GPIO_PIN_RESET);

  /*Configure GPIO pin Output Level */
  HAL_GPIO_WritePin(GPIOA, GPIO_PIN_15, GPIO_PIN_RESET);

  /*Configure GPIO pins : PC13 PC14 */
  GPIO_InitStruct.Pin = GPIO_PIN_13|GPIO_PIN_14;
  GPIO_InitStruct.Mode = GPIO_MODE_IT_RISING_FALLING;
  GPIO_InitStruct.Pull = GPIO_NOPULL;
  HAL_GPIO_Init(GPIOC, &GPIO_InitStruct);

  /*Configure GPIO pins : PC15 PC5 */
  GPIO_InitStruct.Pin = GPIO_PIN_15|GPIO_PIN_5;
  GPIO_InitStruct.Mode = GPIO_MODE_OUTPUT_PP;
  GPIO_InitStruct.Pull = GPIO_NOPULL;
  GPIO_InitStruct.Speed = GPIO_SPEED_FREQ_LOW;
  HAL_GPIO_Init(GPIOC, &GPIO_InitStruct);

  /*Configure GPIO pin : PB12 */
  GPIO_InitStruct.Pin = GPIO_PIN_12;
  GPIO_InitStruct.Mode = GPIO_MODE_OUTPUT_PP;
  GPIO_InitStruct.Pull = GPIO_NOPULL;
  GPIO_InitStruct.Speed = GPIO_SPEED_FREQ_HIGH;
  HAL_GPIO_Init(GPIOB, &GPIO_InitStruct);

  /*Configure GPIO pin : PC9 */
  GPIO_InitStruct.Pin = GPIO_PIN_9;
  GPIO_InitStruct.Mode = GPIO_MODE_INPUT;
  GPIO_InitStruct.Pull = GPIO_PULLUP;
  HAL_GPIO_Init(GPIOC, &GPIO_InitStruct);

  /*Configure GPIO pin : PA12 */
  GPIO_InitStruct.Pin = GPIO_PIN_12;
  GPIO_InitStruct.Mode = GPIO_MODE_INPUT;
  GPIO_InitStruct.Pull = GPIO_PULLUP;
  HAL_GPIO_Init(GPIOA, &GPIO_InitStruct);

  /*Configure GPIO pin : PA15 */
  GPIO_InitStruct.Pin = GPIO_PIN_15;
  GPIO_InitStruct.Mode = GPIO_MODE_OUTPUT_PP;
  GPIO_InitStruct.Pull = GPIO_NOPULL;
  GPIO_InitStruct.Speed = GPIO_SPEED_FREQ_LOW;
  HAL_GPIO_Init(GPIOA, &GPIO_InitStruct);

  /*Configure GPIO pin : PC11 */
  GPIO_InitStruct.Pin = GPIO_PIN_11;
  GPIO_InitStruct.Mode = GPIO_MODE_INPUT;
  GPIO_InitStruct.Pull = GPIO_NOPULL;
  HAL_GPIO_Init(GPIOC, &GPIO_InitStruct);

  /*Configure GPIO pin : PB4 */
  GPIO_InitStruct.Pin = GPIO_PIN_4;
  GPIO_InitStruct.Mode = GPIO_MODE_OUTPUT_PP;
  GPIO_InitStruct.Pull = GPIO_NOPULL;
  GPIO_InitStruct.Speed = GPIO_SPEED_FREQ_LOW;
  HAL_GPIO_Init(GPIOB, &GPIO_InitStruct);

  /* EXTI interrupt init*/
  HAL_NVIC_SetPriority(EXTI15_10_IRQn, 0, 0);
  HAL_NVIC_EnableIRQ(EXTI15_10_IRQn);

}

void Error_Handler(void)
{
	__disable_irq();
	while (1)
	{
	}
}
